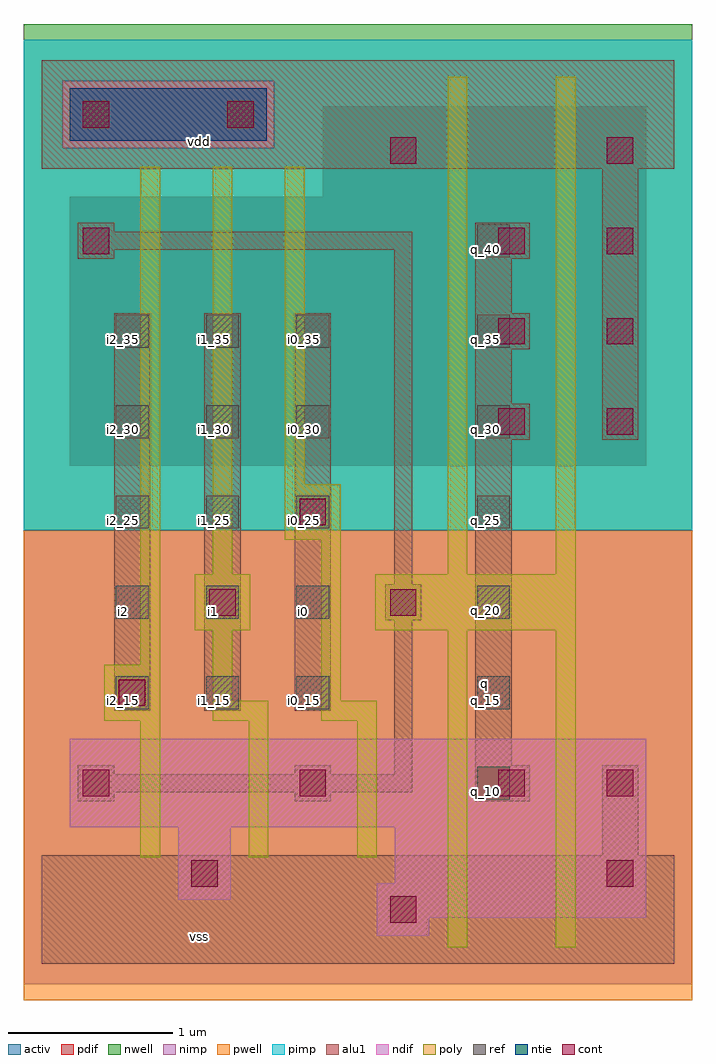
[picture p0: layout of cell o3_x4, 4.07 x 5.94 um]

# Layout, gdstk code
import gdstk
lib = gdstk.Library(unit=1e-6, precision=2.5e-09)
def R(c, l, rs):  # rectangles x0, y0, x1, y1
    for r in rs: c.add(gdstk.rectangle(r[:2], r[2:], *l))
def A(c, l, x, y, w, h, nx, ny, dx, dy):  # array of equal rectangles
    R(c, l, [(x+i*dx, y+j*dy, x+i*dx+w, y+j*dy+h) for i in range(nx) for j in range(ny)])
ndif = (3, 0)
pdif = (4, 0)
ntie = (5, 0)
ref = (24, 0)
cont = (25, 0)
pwell = (41, 0)
nwell = (42, 0)
activ = (43, 0)
pimp = (44, 0)
nimp = (45, 0)
poly = (46, 0)
alu1 = (49, 0)

o3_x4 = lib.new_cell('o3_x4')
R(o3_x4, ndif, [(2.04,0.17,2.36,0.28), (2.04,0.17,2.36,0.28), (2.04,0.28,3.68,0.49), (2.04,0.28,3.68,0.49), (0.83,0.39,1.15,0.83), (0.83,0.39,1.15,0.83), (2.15,0.49,3.68,0.83), (2.15,0.49,3.68,0.83), (0.17,0.83,3.68,1.37), (0.17,0.83,3.68,1.37)])
R(o3_x4, pdif, [(0.17,3.03,3.68,4.67), (0.17,3.03,3.68,4.67), (1.71,4.67,3.68,5.22), (1.71,4.67,3.68,5.22)])
R(o3_x4, ntie, [(0.17,5.01,1.37,5.33), (0.17,5.01,1.37,5.33)])
A(o3_x4, ref, 2.65, 1, 0.2, 0.2, 1, 7, 0, 0.55)
A(o3_x4, ref, 0.45, 1.55, 0.2, 0.2, 3, 5, 0.55, 0.55)
A(o3_x4, cont, 2.78, 3.22, 0.16, 0.16, 1, 3, 0, 0.55)
A(o3_x4, cont, 3.44, 3.22, 0.16, 0.16, 1, 4, 0, 0.55)
R(o3_x4, cont, [(2.12,0.25,2.28,0.41), (0.91,0.47,1.07,0.63), (3.44,0.47,3.6,0.63), (0.25,1.02,0.41,1.18), (1.57,1.02,1.73,1.18), (2.78,1.02,2.94,1.18), (3.44,1.02,3.6,1.18), (0.47,1.57,0.63,1.73), (1.02,2.12,1.18,2.28), (2.12,2.12,2.28,2.28), (1.57,2.67,1.73,2.83), (0.25,4.32,0.41,4.48), (2.12,4.87,2.28,5.03), (0.25,5.09,0.41,5.25), (1.13,5.09,1.29,5.25)])
R(o3_x4, pwell, [(-0.11,-0.22,3.96,2.64)])
R(o3_x4, nwell, [(-0.11,2.64,3.96,5.72)])
R(o3_x4, activ, [(2.04,0.17,2.36,0.28), (2.04,0.17,2.36,0.28), (2.04,0.28,3.68,0.49), (2.04,0.28,3.68,0.49), (0.83,0.39,1.15,0.83), (0.83,0.39,1.15,0.83), (2.15,0.49,3.68,0.83), (2.15,0.49,3.68,0.83), (0.17,0.83,3.68,1.37), (0.17,0.83,3.68,1.37), (0.17,3.03,3.68,4.67), (0.17,3.03,3.68,4.67), (1.71,4.67,3.68,5.22), (1.71,4.67,3.68,5.22), (0.17,5.01,1.37,5.33), (0.17,5.01,1.37,5.33)])
R(o3_x4, pimp, [(-0.11,2.64,3.96,4.965), (-0.11,4.965,0.125,5.375), (1.415,4.965,3.96,5.375), (-0.11,5.375,3.96,5.625)])
R(o3_x4, nimp, [(-0.11,-0.125,3.96,2.64), (0.125,4.965,1.415,5.375)])
A(o3_x4, poly, 0.6, 0.65, 0.12, 0.83, 3, 1, 0.66, 0)
R(o3_x4, poly, [(2.47,0.1,2.59,2.03), (3.13,0.1,3.25,2.03), (0.38,1.48,0.72,1.82), (1.04,1.48,1.38,1.6), (1.7,1.48,2.04,1.6), (1.04,1.6,1.16,2.03), (1.7,1.6,1.82,2.58), (0.6,1.82,0.72,4.85), (0.93,2.03,1.27,2.37), (2.03,2.03,3.25,2.37), (1.04,2.37,1.16,4.85), (2.47,2.37,2.59,5.4), (3.13,2.37,3.25,5.4), (1.48,2.58,1.82,2.92), (1.48,2.92,1.6,4.85)])
A(o3_x4, alu1, 0.44, 1.54, 0.22, 2.42, 3, 1, 0.55, 0)
A(o3_x4, alu1, 2.64, 3.19, 0.33, 0.22, 1, 3, 0, 0.55)
R(o3_x4, alu1, [(0,0,3.85,0.66), (3.41,0.66,3.63,1.21), (0.22,0.99,0.44,1.045), (1.54,0.99,1.76,1.045), (2.64,0.99,2.97,1.21), (0.22,1.045,2.255,1.155), (0.22,1.155,0.44,1.21), (1.54,1.155,1.76,1.21), (2.145,1.155,2.255,2.09), (2.64,1.21,2.86,3.19), (2.09,2.09,2.31,2.31), (2.145,2.31,2.255,4.345), (3.41,3.19,3.63,4.84), (2.64,3.41,2.86,3.74), (2.64,3.96,2.86,4.29), (0.22,4.29,0.44,4.345), (0.22,4.345,2.255,4.455), (0.22,4.455,0.44,4.51), (0,4.84,3.85,5.5)])
o3_x4.add(gdstk.Label('vss', (0.9625,0.165), layer=49, texttype=0))
o3_x4.add(gdstk.Label('q', (2.695,1.705), layer=49, texttype=0))
o3_x4.add(gdstk.Label('i0', (1.595,2.145), layer=49, texttype=0))
o3_x4.add(gdstk.Label('i1', (1.045,2.145), layer=49, texttype=0))
o3_x4.add(gdstk.Label('i2', (0.495,2.145), layer=49, texttype=0))
o3_x4.add(gdstk.Label('vdd', (0.9625,5.005), layer=49, texttype=0))
o3_x4.add(gdstk.Label('q_10', (2.7,1.05), layer=24, texttype=0))
o3_x4.add(gdstk.Label('q_15', (2.7,1.6), layer=24, texttype=0))
o3_x4.add(gdstk.Label('q_20', (2.7,2.15), layer=24, texttype=0))
o3_x4.add(gdstk.Label('q_25', (2.7,2.7), layer=24, texttype=0))
o3_x4.add(gdstk.Label('q_30', (2.7,3.25), layer=24, texttype=0))
o3_x4.add(gdstk.Label('q_35', (2.7,3.8), layer=24, texttype=0))
o3_x4.add(gdstk.Label('q_40', (2.7,4.35), layer=24, texttype=0))
o3_x4.add(gdstk.Label('i0_35', (1.6,3.8), layer=24, texttype=0))
o3_x4.add(gdstk.Label('i0_30', (1.6,3.25), layer=24, texttype=0))
o3_x4.add(gdstk.Label('i0_25', (1.6,2.7), layer=24, texttype=0))
o3_x4.add(gdstk.Label('i0_20', (1.6,2.15), layer=24, texttype=0))
o3_x4.add(gdstk.Label('i0_15', (1.6,1.6), layer=24, texttype=0))
o3_x4.add(gdstk.Label('i1_15', (1.05,1.6), layer=24, texttype=0))
o3_x4.add(gdstk.Label('i1_20', (1.05,2.15), layer=24, texttype=0))
o3_x4.add(gdstk.Label('i1_25', (1.05,2.7), layer=24, texttype=0))
o3_x4.add(gdstk.Label('i1_30', (1.05,3.25), layer=24, texttype=0))
o3_x4.add(gdstk.Label('i1_35', (1.05,3.8), layer=24, texttype=0))
o3_x4.add(gdstk.Label('i2_25', (0.5,2.7), layer=24, texttype=0))
o3_x4.add(gdstk.Label('i2_20', (0.5,2.15), layer=24, texttype=0))
o3_x4.add(gdstk.Label('i2_15', (0.5,1.6), layer=24, texttype=0))
o3_x4.add(gdstk.Label('i2_35', (0.5,3.8), layer=24, texttype=0))
o3_x4.add(gdstk.Label('i2_30', (0.5,3.25), layer=24, texttype=0))

lib.write_gds('o3_x4.gds')
